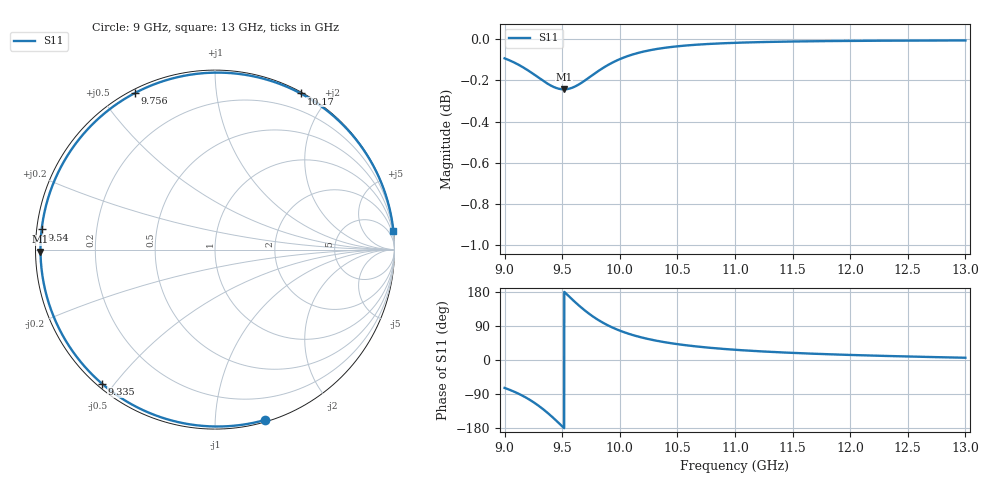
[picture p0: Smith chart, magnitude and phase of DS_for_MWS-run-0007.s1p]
! TOUCHSTONE file generated by CST DESIGN STUDIO
! Date and time: Tue Feb  4 15:56:19 2025
! Project name: C:\Work\MatlabApps\UnitCellOptimizationMatlab\CST\unitcell.cst
! Tree item: Tasks\Sweep1\SPara1\S-Parameters
! Header version: 2024
! Port assignment regex: !\s*Touchstone port\s*([0-9]+)\s*=\s*(CST MWS port|CST DES external port|CST DES block port)\s*(.+)\s* \(\"(.*)\"\)(\s*mode\s*([0-9]+))?.*
! Touchstone port assignment:
! Touchstone port 1 = CST DES external port 1 ("")
# GHz S MA R 50
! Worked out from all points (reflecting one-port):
!   4001 points, 9 GHz to 13 GHz, reference 50 ohm
!   lowest |S11| = -0.2 dB at 9.515 GHz (marker M1), VSWR 71.36, Z = 0.701 - j0.298 ohm
!   phase of S11 starts at -74 deg and turns -280 deg over the sweep
!   S11 on the Smith chart (normalised r, x): 9 GHz: 0.01, -1.33; 9.335 GHz: 0.01, -0.47; 9.54 GHz: 0.01, +0.06; 9.756 GHz: 0.01, +0.61; 10.17 GHz: 0.01, +1.69; 13 GHz: 0, +19
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9  0.9894 -73.7
9.091  0.9868 -84.7
9.195  0.9831 -100.8
9.268  0.98 -114.9
9.335  0.977 -130.0
9.38  0.9752 -141.3
9.426  0.9737 -153.7
9.464  0.9728 -164.5
9.5  0.9724 -174.9
9.515  0.9724 -179.3
9.54  0.9725 173.4
9.593  0.9734 158.1
9.653  0.9754 141.7
9.704  0.9775 128.9
9.756  0.9798 117.1
9.807  0.9821 106.8
9.862  0.9844 96.9
10  0.9889 77.5
10.08  0.9909 68.9
10.167  0.9925 61.2
10.319  0.9946 50.8
10.5  0.9961 41.8
10.722  0.9972 34.0
11  0.998 27.0
11.5  0.9988 18.8
12  0.9991 13.3
12.5  0.9993 9.3
13  0.9993 5.9
